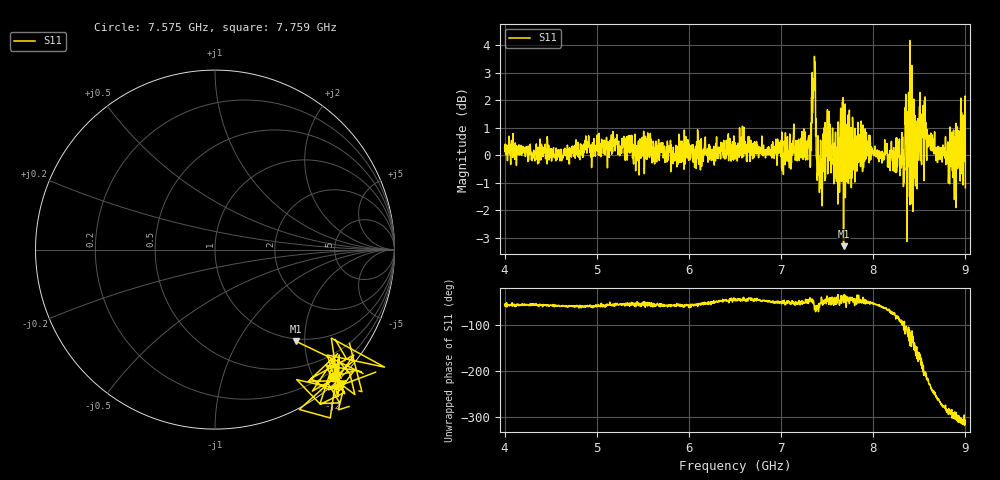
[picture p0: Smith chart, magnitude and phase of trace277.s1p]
! Created with skrf 1.8.0 (http://scikit-rf.org).
# Hz S RI R 50.0
!freq ReS11 ImS11
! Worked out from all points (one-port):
!   1601 points, 4 GHz to 9 GHz, reference 50 ohm
!   lowest |S11| = -3.3 dB at 7.678 GHz (marker M1), VSWR 5.30, Z = 47.6 - j91.1 ohm
!   |S11| at or under -10 dB: nowhere
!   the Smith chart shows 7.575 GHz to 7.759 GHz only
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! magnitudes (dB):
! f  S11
! 4 GHz  0.2
! 4.625 GHz  -0.2
! 5.25 GHz  0.0
! 5.875 GHz  0.2
! 6.5 GHz  0.5
! 7.125 GHz  0.0
! 7.294 GHz  0.6
! 7.347 GHz  2.7
! 7.362 GHz  3.6
! 7.4 GHz  0.7
! 7.409 GHz  -0.2
! 7.438 GHz  -0.2
! 7.509 GHz  0.4
! 7.591 GHz  0.8
! 7.65 GHz  1.0
! 7.678 GHz  -3.3
! 7.75 GHz  -0.7
! 8.316 GHz  0.1
! 8.334 GHz  -1.0
! 8.375 GHz  1.6
! 8.391 GHz  0.2
! 8.394 GHz  -1.5
! 8.447 GHz  1.1
! 8.553 GHz  0.2
! 8.7 GHz  0.1
! 8.875 GHz  -0.3
! 8.972 GHz  0.5
! 9 GHz  -1.2
